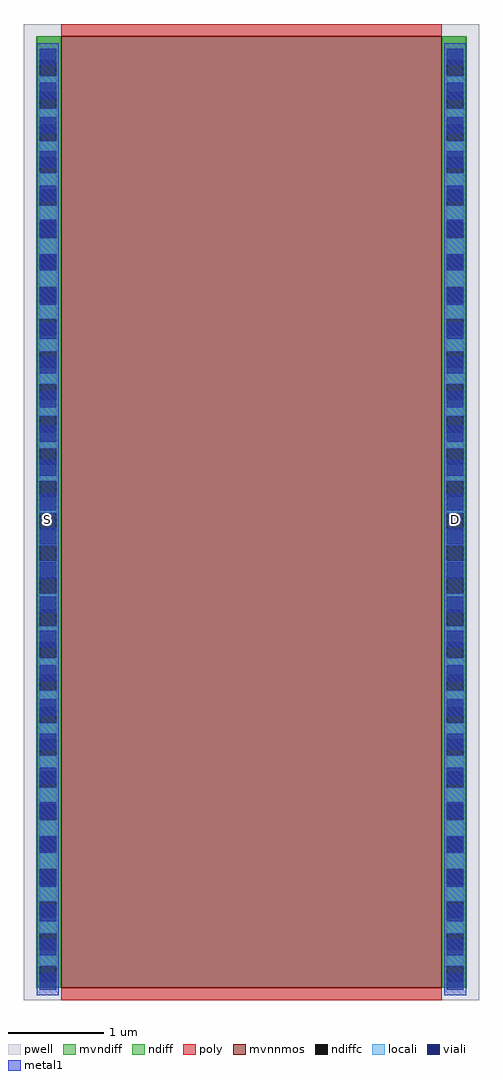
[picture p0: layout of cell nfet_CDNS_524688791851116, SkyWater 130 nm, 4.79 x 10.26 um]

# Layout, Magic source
magic
tech sky130A
magscale 1 2
<< pwell >>
rect -76 -26 876 2026
<< mvnnmos >>
rect 0 0 800 2000
<< mvndiff >>
rect -50 0 0 2000
rect 800 0 850 2000
<< poly >>
rect 0 2000 800 2026
rect 0 -26 800 0
<< metal1 >>
rect -51 -16 -5 1986
rect 805 -16 851 1986
use DFM1sd_CDNS_524688791851117  DFM1sd_CDNS_524688791851117_0
transform -1 0 0 0 1 0
box -26 -26 79 2026
use DFM1sd_CDNS_524688791851117  DFM1sd_CDNS_524688791851117_1
transform 1 0 800 0 1 0
box -26 -26 79 2026
<< labels >>
flabel comment s -28 985 -28 985 0 FreeSans 300 0 0 0 S
flabel comment s 828 985 828 985 0 FreeSans 300 0 0 0 D
<< properties >>
string GDS_END 78948018
string GDS_FILE $PDKPATH/libs.ref/sky130_fd_io/gds/sky130_fd_io.gds
string GDS_START 78947064
<< end >>

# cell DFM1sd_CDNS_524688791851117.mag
magic
tech sky130A
magscale 1 2
<< pwell >>
rect -26 -26 79 2026
<< ndiff >>
rect 0 1950 53 2000
rect 0 1916 11 1950
rect 45 1916 53 1950
rect 0 1882 53 1916
rect 0 1848 11 1882
rect 45 1848 53 1882
rect 0 1814 53 1848
rect 0 1780 11 1814
rect 45 1780 53 1814
rect 0 1746 53 1780
rect 0 1712 11 1746
rect 45 1712 53 1746
rect 0 1678 53 1712
rect 0 1644 11 1678
rect 45 1644 53 1678
rect 0 1610 53 1644
rect 0 1576 11 1610
rect 45 1576 53 1610
rect 0 1542 53 1576
rect 0 1508 11 1542
rect 45 1508 53 1542
rect 0 1474 53 1508
rect 0 1440 11 1474
rect 45 1440 53 1474
rect 0 1406 53 1440
rect 0 1372 11 1406
rect 45 1372 53 1406
rect 0 1338 53 1372
rect 0 1304 11 1338
rect 45 1304 53 1338
rect 0 1270 53 1304
rect 0 1236 11 1270
rect 45 1236 53 1270
rect 0 1202 53 1236
rect 0 1168 11 1202
rect 45 1168 53 1202
rect 0 1134 53 1168
rect 0 1100 11 1134
rect 45 1100 53 1134
rect 0 1066 53 1100
rect 0 1032 11 1066
rect 45 1032 53 1066
rect 0 998 53 1032
rect 0 964 11 998
rect 45 964 53 998
rect 0 930 53 964
rect 0 896 11 930
rect 45 896 53 930
rect 0 862 53 896
rect 0 828 11 862
rect 45 828 53 862
rect 0 794 53 828
rect 0 760 11 794
rect 45 760 53 794
rect 0 726 53 760
rect 0 692 11 726
rect 45 692 53 726
rect 0 658 53 692
rect 0 624 11 658
rect 45 624 53 658
rect 0 590 53 624
rect 0 556 11 590
rect 45 556 53 590
rect 0 522 53 556
rect 0 488 11 522
rect 45 488 53 522
rect 0 454 53 488
rect 0 420 11 454
rect 45 420 53 454
rect 0 386 53 420
rect 0 352 11 386
rect 45 352 53 386
rect 0 318 53 352
rect 0 284 11 318
rect 45 284 53 318
rect 0 250 53 284
rect 0 216 11 250
rect 45 216 53 250
rect 0 182 53 216
rect 0 148 11 182
rect 45 148 53 182
rect 0 114 53 148
rect 0 80 11 114
rect 45 80 53 114
rect 0 46 53 80
rect 0 12 11 46
rect 45 12 53 46
rect 0 0 53 12
<< ndiffc >>
rect 11 1916 45 1950
rect 11 1848 45 1882
rect 11 1780 45 1814
rect 11 1712 45 1746
rect 11 1644 45 1678
rect 11 1576 45 1610
rect 11 1508 45 1542
rect 11 1440 45 1474
rect 11 1372 45 1406
rect 11 1304 45 1338
rect 11 1236 45 1270
rect 11 1168 45 1202
rect 11 1100 45 1134
rect 11 1032 45 1066
rect 11 964 45 998
rect 11 896 45 930
rect 11 828 45 862
rect 11 760 45 794
rect 11 692 45 726
rect 11 624 45 658
rect 11 556 45 590
rect 11 488 45 522
rect 11 420 45 454
rect 11 352 45 386
rect 11 284 45 318
rect 11 216 45 250
rect 11 148 45 182
rect 11 80 45 114
rect 11 12 45 46
<< locali >>
rect 11 1902 45 1916
rect 11 1830 45 1848
rect 11 1758 45 1780
rect 11 1686 45 1712
rect 11 1614 45 1644
rect 11 1542 45 1576
rect 11 1474 45 1508
rect 11 1406 45 1436
rect 11 1338 45 1364
rect 11 1270 45 1292
rect 11 1202 45 1220
rect 11 1134 45 1148
rect 11 1066 45 1076
rect 11 998 45 1004
rect 11 930 45 932
rect 11 894 45 896
rect 11 822 45 828
rect 11 750 45 760
rect 11 678 45 692
rect 11 606 45 624
rect 11 534 45 556
rect 11 462 45 488
rect 11 390 45 420
rect 11 318 45 352
rect 11 250 45 284
rect 11 182 45 212
rect 11 114 45 140
rect 11 46 45 68
<< viali >>
rect 11 1950 45 1974
rect 11 1940 45 1950
rect 11 1882 45 1902
rect 11 1868 45 1882
rect 11 1814 45 1830
rect 11 1796 45 1814
rect 11 1746 45 1758
rect 11 1724 45 1746
rect 11 1678 45 1686
rect 11 1652 45 1678
rect 11 1610 45 1614
rect 11 1580 45 1610
rect 11 1508 45 1542
rect 11 1440 45 1470
rect 11 1436 45 1440
rect 11 1372 45 1398
rect 11 1364 45 1372
rect 11 1304 45 1326
rect 11 1292 45 1304
rect 11 1236 45 1254
rect 11 1220 45 1236
rect 11 1168 45 1182
rect 11 1148 45 1168
rect 11 1100 45 1110
rect 11 1076 45 1100
rect 11 1032 45 1038
rect 11 1004 45 1032
rect 11 964 45 966
rect 11 932 45 964
rect 11 862 45 894
rect 11 860 45 862
rect 11 794 45 822
rect 11 788 45 794
rect 11 726 45 750
rect 11 716 45 726
rect 11 658 45 678
rect 11 644 45 658
rect 11 590 45 606
rect 11 572 45 590
rect 11 522 45 534
rect 11 500 45 522
rect 11 454 45 462
rect 11 428 45 454
rect 11 386 45 390
rect 11 356 45 386
rect 11 284 45 318
rect 11 216 45 246
rect 11 212 45 216
rect 11 148 45 174
rect 11 140 45 148
rect 11 80 45 102
rect 11 68 45 80
rect 11 12 45 30
rect 11 -4 45 12
<< metal1 >>
rect 5 1974 51 1986
rect 5 1940 11 1974
rect 45 1940 51 1974
rect 5 1902 51 1940
rect 5 1868 11 1902
rect 45 1868 51 1902
rect 5 1830 51 1868
rect 5 1796 11 1830
rect 45 1796 51 1830
rect 5 1758 51 1796
rect 5 1724 11 1758
rect 45 1724 51 1758
rect 5 1686 51 1724
rect 5 1652 11 1686
rect 45 1652 51 1686
rect 5 1614 51 1652
rect 5 1580 11 1614
rect 45 1580 51 1614
rect 5 1542 51 1580
rect 5 1508 11 1542
rect 45 1508 51 1542
rect 5 1470 51 1508
rect 5 1436 11 1470
rect 45 1436 51 1470
rect 5 1398 51 1436
rect 5 1364 11 1398
rect 45 1364 51 1398
rect 5 1326 51 1364
rect 5 1292 11 1326
rect 45 1292 51 1326
rect 5 1254 51 1292
rect 5 1220 11 1254
rect 45 1220 51 1254
rect 5 1182 51 1220
rect 5 1148 11 1182
rect 45 1148 51 1182
rect 5 1110 51 1148
rect 5 1076 11 1110
rect 45 1076 51 1110
rect 5 1038 51 1076
rect 5 1004 11 1038
rect 45 1004 51 1038
rect 5 966 51 1004
rect 5 932 11 966
rect 45 932 51 966
rect 5 894 51 932
rect 5 860 11 894
rect 45 860 51 894
rect 5 822 51 860
rect 5 788 11 822
rect 45 788 51 822
rect 5 750 51 788
rect 5 716 11 750
rect 45 716 51 750
rect 5 678 51 716
rect 5 644 11 678
rect 45 644 51 678
rect 5 606 51 644
rect 5 572 11 606
rect 45 572 51 606
rect 5 534 51 572
rect 5 500 11 534
rect 45 500 51 534
rect 5 462 51 500
rect 5 428 11 462
rect 45 428 51 462
rect 5 390 51 428
rect 5 356 11 390
rect 45 356 51 390
rect 5 318 51 356
rect 5 284 11 318
rect 45 284 51 318
rect 5 246 51 284
rect 5 212 11 246
rect 45 212 51 246
rect 5 174 51 212
rect 5 140 11 174
rect 45 140 51 174
rect 5 102 51 140
rect 5 68 11 102
rect 45 68 51 102
rect 5 30 51 68
rect 5 -4 11 30
rect 45 -4 51 30
rect 5 -16 51 -4
<< properties >>
string GDS_END 78941026
string GDS_FILE $PDKPATH/libs.ref/sky130_fd_io/gds/sky130_fd_io.gds
string GDS_START 78937118
<< end >>
